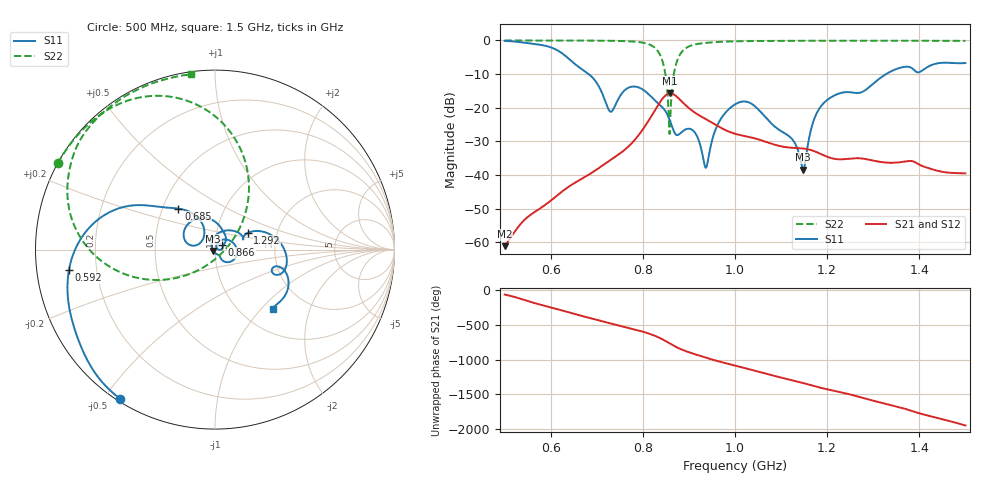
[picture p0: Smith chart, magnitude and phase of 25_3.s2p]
! TOUCHSTONE file generated by CST MICROWAVE STUDIO
! Date and time: Fri Oct 30 07:58:16 2020
! Project name: Scenario_1_Circular_Tissue_out_of_Line.cst
! Parameters = {dy1=70.184; L_HA=400; MT=2.54; Rad_Dielectric=30; Rad_Lower=7.3; Rad_Upper=30; a_HA=580; a_WG=246; b_HA=500; b_WG=121; c_HA=0; c_WG=187; d_feed=85; dx1=520; h_feed=15; h_lower=18; h_upper=40}
! Header version: 2018
! Port assignment regex: !\s*Touchstone port\s*([0-9]+)\s*=\s*(CST MWS port|CST DS port)\s*([0-9]+|Zmin|Zmax)\s*\(\"(.*)\"\)(\s*mode\s*([0-9]+))?.*
! Touchstone port assignment:
! Touchstone port 1 = CST MWS port 1 ("")
! Touchstone port 2 = CST MWS port 2 ("")
# GHz S DB R 50
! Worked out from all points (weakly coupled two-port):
!   1001 points, 500 MHz to 1.5 GHz, reference 50 ohm
!   highest |S21| = -15.72 dB at 859 MHz (marker M1); lowest = -61.1 dB at 500 MHz (marker M2)
!   lowest |S11| = -38.4 dB at 1.148 GHz (marker M3), VSWR 1.02, Z = 49 - j0.681 ohm
!   |S11| at or under -10 dB: 682.5 MHz to 1.328 GHz (645.4 MHz wide, 64.2 % of centre)
!   |S22| runs from -27.8 to 0.0 dB; largest |S21 - S12| = 3.8e-05
!   S11 on the Smith chart (normalised r, x): 500 MHz: 0.01, -0.55; 592 MHz: 0.10, -0.07; 685 MHz: 0.60, +0.30; 866 MHz: 1.08, +0.06; 1.292 GHz: 1.42, +0.27; 1.5 GHz: 1.39, -1.16
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0.5  -0.13 -122.5  -61.12 -61.6  -61.12 -61.6  -0.01 151.1
0.592  -1.71 -172.1  -48.47 127.6  -48.47 127.6  -0.02 144.7
0.667  -8.48 141.2  -41.15 -8.9  -41.15 -8.9  -0.04 138.4
0.685  -10.28 131.7  -39.69 -40.0  -39.69 -40.0  -0.05 136.5
0.729  -21.11 141.1  -35.58 -116.2  -35.58 -116.2  -0.10 131.0
0.777  -13.71 140.3  -30.37 164.0  -30.37 164.0  -0.31 121.1
0.834  -18.84 67.5  -19.00 41.5  -19.00 41.5  -3.45 83.6
0.846  -20.43 51.7  -16.75 1.0  -16.75 1.0  -7.93 61.9
0.859  -23.94 33.2  -15.72 -48.9  -15.72 -48.9  -25.08 -92.0
0.866  -26.61 33.0  -15.96 -75.4  -15.96 -75.4  -11.18 -144.6
0.891  -26.56 43.6  -19.00 -151.4  -19.00 -151.4  -2.53 175.4
0.915  -27.80 8.2  -21.63 154.5  -21.63 154.5  -1.14 159.7
0.937  -37.84 36.2  -23.40 109.1  -23.40 109.1  -0.72 152.0
0.963  -24.84 61.7  -25.47 58.5  -25.47 58.5  -0.46 146.2
1  -19.00 15.2  -27.72 -4.8  -27.72 -4.8  -0.27 140.3
1.119  -28.65 -55.5  -31.84 153.0  -31.84 153.0  -0.11 128.1
1.148  -38.36 -144.9  -32.11 103.1  -32.11 103.1  -0.11 125.7
1.167  -25.42 106.4  -32.66 68.1  -32.66 68.2  -0.10 124.2
1.205  -17.19 50.6  -34.79 5.9  -34.80 5.9  -0.08 121.3
1.292  -13.79 26.8  -35.47 -137.5  -35.47 -137.5  -0.08 114.7
1.334  -9.52 12.6  -36.34 153.1  -36.34 153.1  -0.08 111.5
1.5  -6.71 -45.6  -39.50 -147.7  -39.50 -147.7  -0.13 97.8
